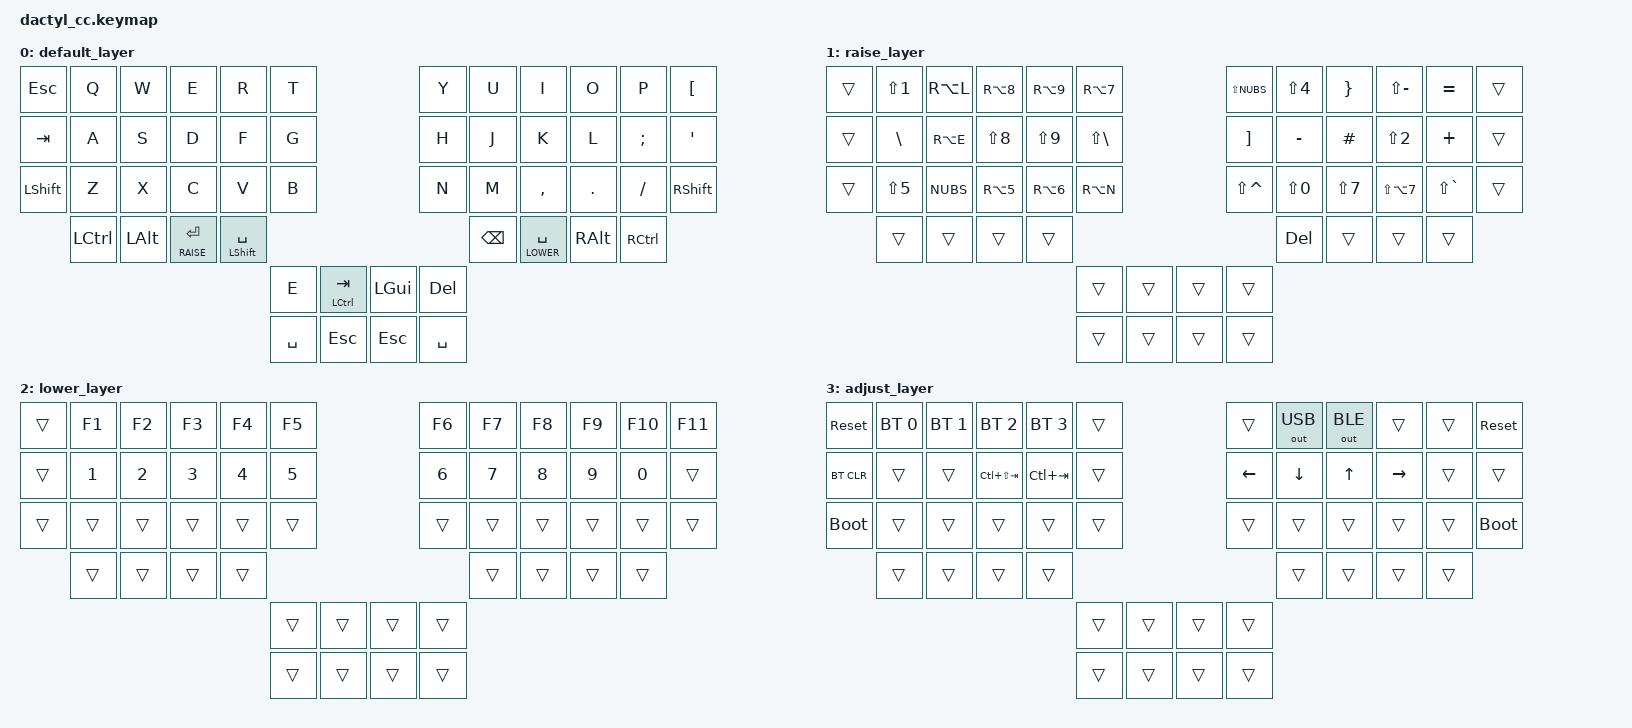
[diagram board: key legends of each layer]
#include <behaviors.dtsi>
#include <dt-bindings/zmk/keys.h>
#include <dt-bindings/zmk/bt.h>
#include <dt-bindings/zmk/outputs.h>
#include <dt-bindings/zmk/ext_power.h>


#define DEFAULT 0
#define RAISE   1
#define LOWER   2
#define ADJUST  3

#define HYPER(key) LS(LC(LA(LG(key))))
#define MEH(key)   LS(LC(LA(key)))

&sl {
    release-after-ms = <5000>;
};

&kscan0 {
    debounce-period = <25>;
};

/ {
    conditional_layers {
    compatible = "zmk,conditional-layers";

    tri_layer {
        if-layers = <LOWER RAISE>;
        then-layer = <ADJUST>;
    };
    };


    keymap {
        compatible = "zmk,keymap";

        default_layer {
            bindings = <
    &kp ESC     &kp Q     &kp W    &kp E     &kp R     &kp T                              &kp Y     &kp U     &kp I     &kp O     &kp P    &kp LEFT_BRACKET
    &kp TAB     &kp A     &kp S    &kp D     &kp F     &kp G                              &kp H     &kp J     &kp K     &kp L     &kp SEMI &kp SQT
    &kp LSHIFT  &kp Z     &kp X    &kp C     &kp V     &kp B                              &kp N     &kp M     &kp COMMA &kp DOT   &kp FSLH &kp RSHIFT
                 &kp LCTRL &kp LALT &lt RAISE RET     &mt LSHIFT SPACE                     &kp BSPC  &lt LOWER SPACE &kp RALT  &kp RCTRL
                                                      &kp E      &mt LCTRL TAB     &kp LGUI &kp DEL
                                                      &kp SPACE  &kp ESC           &kp ESC  &kp SPACE
            >;
        };

        raise_layer {
            bindings = <
    &trans    &kp LS(N1) &kp RA(L) &kp RA(N8) &kp RA(N9) &kp RA(N7)                 &kp LS(NUBS)  &kp LS(N4) &kp RBRC     &kp LS(MINUS)  &kp EQUAL &trans
    &trans    &kp BSLH   &kp RA(E) &kp LS(N8) &kp LS(N9) &kp LS(BSLH)               &kp RBKT      &kp MINUS  &kp HASH     &kp LS(N2)     &kp PLUS  &trans
    &trans    &kp LS(N5) &kp NUBS  &kp RA(N5) &kp RA(N6) &kp RA(N)                  &kp LS(CARET) &kp LS(N0) &kp LS(N7)   &kp LS(LA(N7)) &kp LS(GRAVE) &trans
             &trans     &trans     &trans     &trans                                                 &kp DEL    &trans       &trans         &trans
                                                         &trans  &trans     &trans  &trans
                                                         &trans  &trans     &trans  &trans
            >;
        };

        lower_layer {
            bindings = <
&trans   &kp F1     &kp F2     &kp F3     &kp F4     &kp F5                     &kp F6     &kp F7    &kp F8    &kp F9    &kp F10  &kp F11
&trans   &kp N1     &kp N2     &kp N3     &kp N4     &kp N5                     &kp N6     &kp N7    &kp N8    &kp N9    &kp N0   &trans
&trans   &trans     &trans     &trans     &trans     &trans                     &trans     &trans    &trans    &trans    &trans   &trans
         &trans     &trans     &trans     &trans                                           &trans    &trans    &trans    &trans
                                                     &trans  &trans     &trans  &trans
                                                     &trans  &trans     &trans  &trans
            >;
        };

        adjust_layer {
            bindings = <
&sys_reset  &bt BT_SEL 0  &bt BT_SEL 1 &bt BT_SEL 2  &bt BT_SEL 3  &trans                     &trans     &out OUT_USB  &out OUT_BLE  &trans    &trans    &sys_reset
&bt BT_CLR  &trans        &trans       &kp LC(LS(TAB)) &kp LC(TAB) &trans                     &kp LEFT   &kp DOWN      &kp UP        &kp RIGHT &trans    &trans
&bootloader &trans        &trans       &trans        &trans        &trans                     &trans     &trans        &trans        &trans    &trans    &bootloader
            &trans        &trans       &trans        &trans                                              &trans        &trans        &trans    &trans
                                                                   &trans  &trans     &trans  &trans
                                                                   &trans  &trans     &trans  &trans
            >;
        };
    };
};
